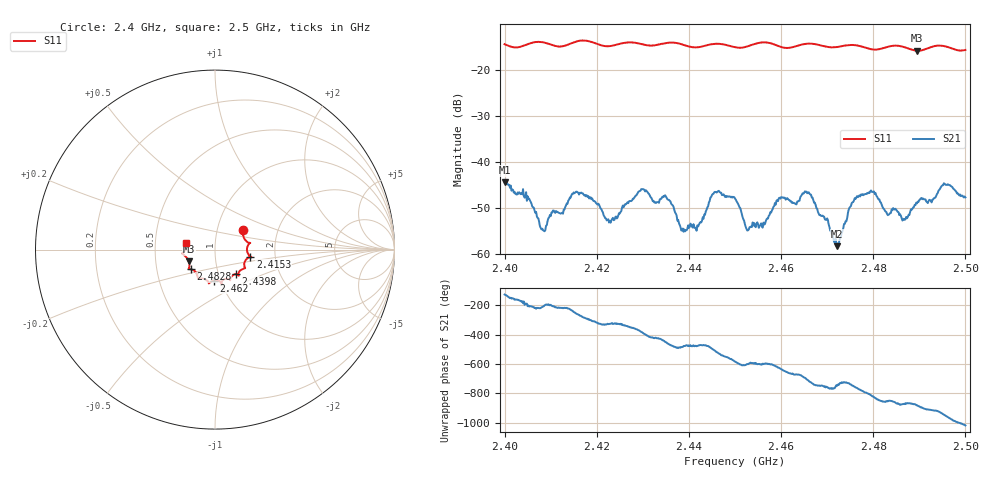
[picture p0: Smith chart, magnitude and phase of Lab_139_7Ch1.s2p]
# Hz S RI R 50
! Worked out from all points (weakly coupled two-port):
!   601 points, 2.4 GHz to 2.5 GHz, reference 50 ohm
!   highest |S21| = -44.50 dB at 2.4 GHz (marker M1); lowest = -58.3 dB at 2.4722 GHz (marker M2)
!   lowest |S11| = -15.9 dB at 2.4895 GHz (marker M3), VSWR 1.38, Z = 37 - j5.03 ohm
!   |S11| at or under -10 dB: start of sweep to end of sweep
!   S12 and S22 are empty: the file has one direction only
!   S11 on the Smith chart (normalised r, x): 2.4 GHz: 1.33, +0.29; 2.4153 GHz: 1.48, -0.12; 2.4398 GHz: 1.21, -0.34; 2.462 GHz: 0.93, -0.33; 2.4828 GHz: 0.74, -0.17; 2.5 GHz: 0.72, +0.06
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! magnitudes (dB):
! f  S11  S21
! 2.4 GHz  -14.5  -44.5
! 2.4052 GHz  -14.4  -48.0
! 2.4083 GHz  -14.1  -54.9
! 2.4153 GHz  -14.0  -46.7
! 2.4167 GHz  -13.7  -46.7
! 2.4227 GHz  -14.9  -53.2
! 2.4297 GHz  -14.4  -45.9
! 2.4333 GHz  -14.6  -48.7
! 2.4398 GHz  -14.9  -53.8
! 2.4455 GHz  -14.4  -46.6
! 2.45 GHz  -15.1  -48.0
! 2.4528 GHz  -14.9  -54.9
! 2.462 GHz  -15.2  -48.6
! 2.4667 GHz  -14.4  -47.7
! 2.4722 GHz  -15.1  -58.3
! 2.4765 GHz  -14.8  -47.5
! 2.48 GHz  -15.6  -46.5
! 2.4828 GHz  -15.1  -50.9
! 2.4833 GHz  -15.0  -51.5
! 2.4895 GHz  -15.9  -49.0
! 2.4957 GHz  -15.0  -45.0
! 2.5 GHz  -15.7  -47.7
